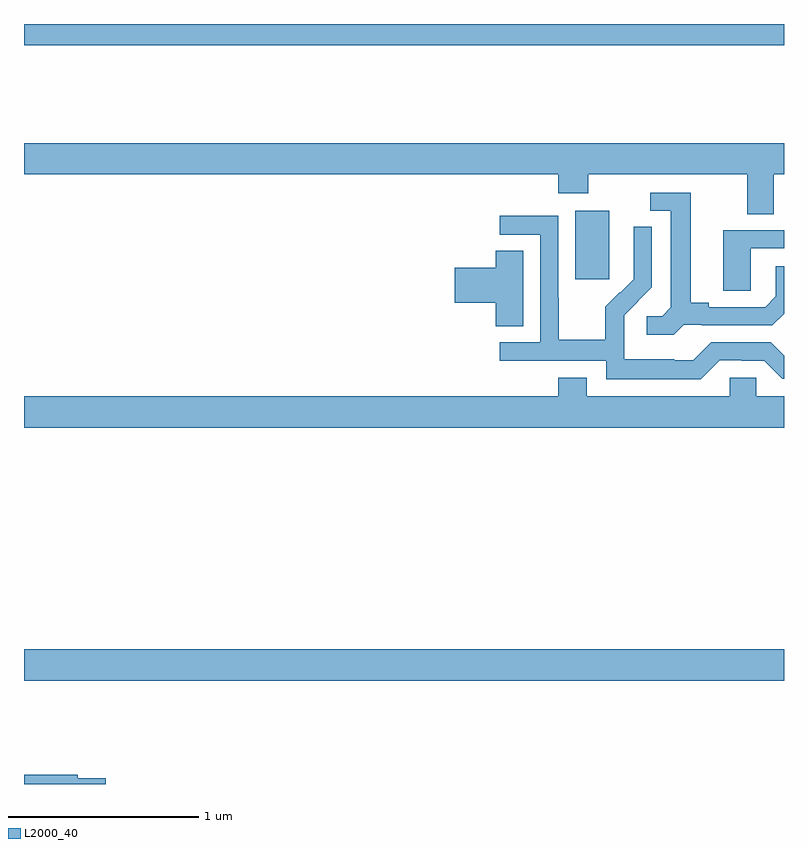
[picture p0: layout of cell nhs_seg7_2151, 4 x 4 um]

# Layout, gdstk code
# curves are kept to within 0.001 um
import gdstk
lib = gdstk.Library(unit=1e-6, precision=1e-09)
def R(c, l, rs):  # rectangles x0, y0, x1, y1
    for r in rs: c.add(gdstk.rectangle(r[:2], r[2:], *l))
def P(c, l, *ps):  # polygons
    for p in ps: c.add(gdstk.Polygon(p, *l))
L2000_40 = (2000, 40)

nhs_seg7_2151 = lib.new_cell('nhs_seg7_2151')
R(nhs_seg7_2151, L2000_40, [(251,1072.544,255,1072.708), (253.901,1074.657,254.08,1075.018), (251,1075.888,255,1076)])
P(nhs_seg7_2151, L2000_40, [(254.947,1075.208),(255,1075.208),(255,1075.372),(251,1075.372),(251,1075.208),(253.811,1075.208),(253.811,1075.109),(253.971,1075.109),(253.971,1075.208),(254.807,1075.208),(254.807,1075),(254.947,1075)],
  [(254.472,1074.417),(254.566,1074.417),(254.566,1074.414),(254.938,1074.414),(255,1074.476),(255,1074.724),(254.957,1074.724),(254.957,1074.567),(254.9,1074.51),(254.605,1074.51),(254.605,1074.533),(254.509,1074.533),(254.509,1075.113),(254.295,1075.113),(254.295,1075.017),(254.405,1075.017),(254.405,1074.509),(254.358,1074.462),(254.277,1074.462),(254.277,1074.365),(254.42,1074.365)],
  [(254.661,1074.231),(254.777,1074.231),(254.777,1074.228),(254.895,1074.228),(254.991,1074.132),(255,1074.132),(255,1074.255),(254.931,1074.324),(254.616,1074.324),(254.523,1074.231),(254.423,1074.231),(254.423,1074.235),(254.16,1074.235),(254.16,1074.369),(254.158,1074.369),(254.158,1074.466),(254.304,1074.614),(254.304,1074.932),(254.208,1074.932),(254.208,1074.778),(254.21,1074.778),(254.21,1074.656),(254.139,1074.585),(254.136,1074.588),(254.059,1074.511),(254.059,1074.337),(253.815,1074.337),(253.815,1074.56),(253.812,1074.56),(253.812,1074.99),(253.503,1074.99),(253.503,1074.891),(253.716,1074.891),(253.716,1074.324),(253.503,1074.324),(253.503,1074.228),(254.064,1074.228),(254.064,1074.131),(254.561,1074.131)],
  [(254.826,1074.819),(255,1074.819),(255,1074.915),(254.681,1074.915),(254.681,1074.595),(254.826,1074.595)],
  [(253.627,1074.806),(253.484,1074.806),(253.484,1074.716),(253.266,1074.716),(253.266,1074.533),(253.484,1074.533),(253.484,1074.409),(253.627,1074.409)],
  [(255,1074.04),(254.853,1074.04),(254.853,1074.138),(254.715,1074.138),(254.715,1074.04),(253.963,1074.04),(253.963,1074.139),(253.811,1074.139),(253.811,1074.04),(251,1074.04),(251,1073.876),(255,1073.876)],
  [(251.429,1072.029),(251.282,1072.029),(251.282,1072.049),(251,1072.049),(251,1072),(251.429,1072)])

lib.write_gds('nhs_seg7_2151.gds')
